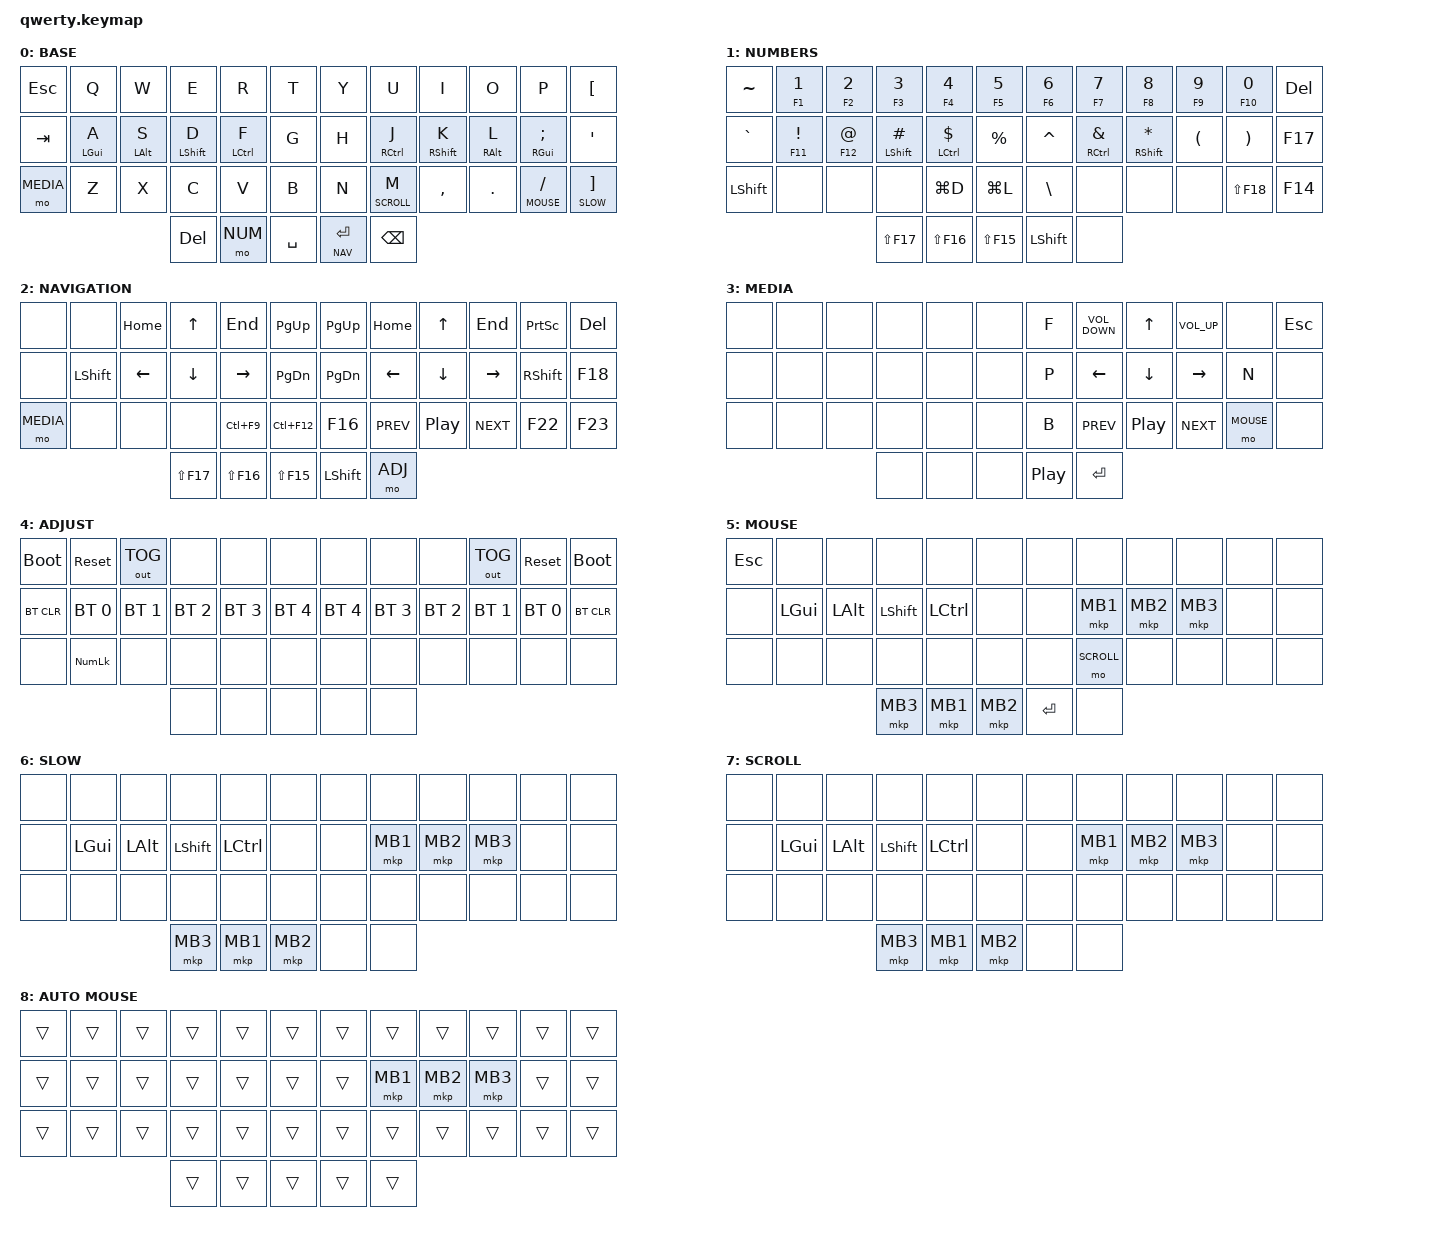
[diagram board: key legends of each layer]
/* upstream bindings and behaviors */
#include <behaviors.dtsi>
#include <dt-bindings/zmk/bt.h>
#include <dt-bindings/zmk/keys.h>
#include <dt-bindings/zmk/mouse.h>
#include <dt-bindings/zmk/outputs.h>
#include <behaviors/mouse_keys.dtsi>
#include <dt-bindings/zmk/ext_power.h>


/* local overlays */
// #include "macros.dtsi"
// #include "behaviors.dtsi"
// #include "combos.dtsi"

#define U_TAPPING_TERM 200

#define BASE   0
#define NUM    1
#define NAV    2
#define MEDIA  3
#define ADJ    4
#define MOUSE  5
#define SLOW   6
#define SCROLL 7
#define AUTO_MOUSE 8

#define KEYS_L 0 1 2 3 4 5 12 13 14 15 16 17 24 25 26 27 28 29 36 37 38 19 20 21 22  // Left-hand keys.
#define KEYS_R 6 7 8 9 10 11 18 19 20 21 22 23 30 31 32 33 34 35 39 40 16 15 14 13  // Right-hand keys.
#define THUMBS 36 37 38 39 40  // Thumb keys.

/ {
    combos {
        compatible = "zmk,combos";

        ParaLeft {
            bindings = <&kp LEFT_PARENTHESIS>;
            key-positions = <4 5>;
            timeout-ms = <30>;
        };

        ParaRight {
            bindings = <&kp RIGHT_PARENTHESIS>;
            key-positions = <6 7>;
            timeout-ms = <30>;
        };

        BrakLeft {
            bindings = <&kp LEFT_BRACKET>;
            key-positions = <16 17>;
            timeout-ms = <30>;
        };

        BrakRight {
            bindings = <&kp RIGHT_BRACKET>;
            key-positions = <18 19>;
            timeout-ms = <30>;
            layers = <BASE NUM NAV MEDIA ADJ MOUSE SLOW SCROLL>;
        };

        BraceLeft {
            bindings = <&kp LEFT_BRACE>;
            key-positions = <28 29>;
            timeout-ms = <30>;
        };

        BraceRight {
            bindings = <&kp RIGHT_BRACE>;
            key-positions = <30 31>;
            timeout-ms = <30>;
        };
		
		LangRu {
            bindings = <&kp LS(F13)>;
            key-positions = <15 16>;
            timeout-ms = <30>;
        };

        LangUs {
            bindings = <&kp LS(F14)>;
            key-positions = <19 20>;
            timeout-ms = <30>;
            layers = <BASE NUM NAV MEDIA ADJ MOUSE SLOW SCROLL>;
        };

        //DoubleQuote {
        //    bindings = <&kp DOUBLE_QUOTES>;
        //    key-positions = <15 16>;
        //    timeout-ms = <30>;
        //};

        //SingleQuote {
        //    bindings = <&kp APOSTROPHE>;
        //    key-positions = <19 20>;
        //    timeout-ms = <30>;
        //};

        TildaSign {
            bindings = <&kp TILDE>;
            key-positions = <0 12>;
            timeout-ms = <30>;
        };

        GraveSign {
            bindings = <&kp GRAVE>;
            key-positions = <12 24>;
            timeout-ms = <30>;
        };

        MinusSign {
            bindings = <&kp MINUS>;
            key-positions = <3 4>;
            timeout-ms = <30>;
        };

        PlusSign {
            bindings = <&kp PLUS>;
            key-positions = <2 3>;
            timeout-ms = <30>;
        };

        UnderscoreSign {
            bindings = <&kp UNDERSCORE>;
            key-positions = <7 8>;
            timeout-ms = <30>;
        };

        PipeSign {
            bindings = <&kp EQUAL>;
            key-positions = <8 9>;
            timeout-ms = <30>;
        };
		
		MediaLayerON {
            bindings = <&tog MEDIA>;
            key-positions = <11 35>;
            timeout-ms = <50>;
			layers = <BASE>;
        };
		
		MediaLayerOFF {
            bindings = <&to BASE>;
            key-positions = <11 35>;
            timeout-ms = <50>;
			layers = <MEDIA>;
        };
		
		PercentPrint {
            bindings = <&battery_text>;
            pass-source;
            key-positions = <0>;
            timeout-ms = <50>;
			layers = <NAV>;
        };

		CapsWord {
            bindings = <&caps_word>;
            key-positions = <17 18>;
            layers = <BASE>;
        };
    };

    behaviors {
        battery_text: battery_text {
            compatible = "zmk,behavior-battery-text";
            #binding-cells = <0>;
        };

        hm: homerow_mod {
            compatible = "zmk,behavior-hold-tap";
            #binding-cells = <2>;
            flavor = "tap-preferred";
            tapping-term-ms = <280>; // triggers the hold behavior when the tapping-term-ms has expired
            quick-tap-ms = <175>; // If you press a tapped hold-tap again within quick-tap-ms milliseconds of the first press, it will always trigger the tap behavior.
            require-prior-idle-ms = <185>; // like quick-tap-ms however it will apply for any non-modifier key pressed before it
            bindings = <&kp>, <&kp>;  // hold, tap
        };

        // Left-hand HRM
        hml: left_side_homerow_mod {
            compatible = "zmk,behavior-hold-tap";
            #binding-cells = <2>;
            flavor = "balanced";
            tapping-term-ms = <280>;
            quick-tap-ms = <175>;
            require-prior-idle-ms = <150>;
            bindings = <&kp>, <&kp>;
            hold-trigger-key-positions = <KEYS_R THUMBS>;
            hold-trigger-on-release;
        };

        // Right-hand HRM
        hmr: right_side_homerow_mod {
            compatible = "zmk,behavior-hold-tap";
            #binding-cells = <2>;
            flavor = "balanced";
            tapping-term-ms = <280>;
            quick-tap-ms = <175>;
            require-prior-idle-ms = <125>;
            bindings = <&kp>, <&kp>;
            hold-trigger-key-positions = <KEYS_L THUMBS>;
            hold-trigger-on-release;
        };

        td_esc_scrl_slow: td_esc_scrl_slow {
            compatible = "zmk,behavior-tap-dance";
            #binding-cells = <0>;
            tapping-term-ms = <125>;
            bindings = <&lt 8 ESC>, <&mo 7>; // hold, tap, double_tap
        };

        td_space_nav: td_space {
            compatible = "zmk,behavior-tap-dance";
            #binding-cells = <0>;
            tapping-term-ms = <120>;
            bindings = <&lt 2 SPACE>, <&kp SPACE>; // hold, tap, double_tap
        };

        td_bs: td_bs {
            compatible = "zmk,behavior-tap-dance";
            #binding-cells = <0>;
            tapping-term-ms = <115>;
            bindings = <&lt 1 BACKSPACE>, <&kp BACKSPACE>; // hold, tap, double_tap
        };

        httl: ht_two_layers {
            compatible = "zmk,behavior-hold-tap";
            bindings = <&mo>, <&to>;
            #binding-cells = <2>;
            flavor = "balanced";
            tapping-term-ms = <125>;
        };

        td_layers: td_layer_swap {
            compatible = "zmk,behavior-tap-dance";
            #binding-cells = <0>;
            bindings = <&to 0>, <&to 4>; // tap, double_tap
        };

        td_clk_scrl: td_click_or_scroll {
            compatible = "zmk,behavior-tap-dance";
            #binding-cells = <0>;
            tapping-term-ms = <250>;
            bindings = <&mkp RCLK>, <&mo 8>;  // tap/hold, double_tap
        };

        td_bore: BASE_or_EXTRA {
            compatible = "zmk,behavior-tap-dance";
            #binding-cells = <0>;
            bindings = <&mo 5>, <&to 0>;
        };

        mm_qm_ex: question_exclamation {
            compatible    = "zmk,behavior-mod-morph";
            #binding-cells = <0>;
            bindings      = <&kp QUESTION>, <&kp EXCLAMATION>;
            mods          = <(MOD_LSFT | MOD_RSFT)>;
        };

        mm_pr_col: period_colon {
            compatible    = "zmk,behavior-mod-morph";
            #binding-cells = <0>;
            bindings      = <&kp PERIOD>, <&kp COLON>;
            mods          = <(MOD_LSFT | MOD_RSFT)>;
        };

        mm_cm_sc: comma_semi_colon {
            compatible    = "zmk,behavior-mod-morph";
            #binding-cells = <0>;
            bindings      = <&kp COMMA>, <&kp SEMICOLON>;
            mods          = <(MOD_LSFT | MOD_RSFT)>;
        };
    };

    /* --- KEYMAP CONFIG --- */
// ╭──────┬──────┬──────┬──────┬──────┬──────╮  ╭──────┬──────┬──────┬──────┬──────┬──────╮
//    00     01     02     03    04      05        06     07     08     09     10     11
// ├──────┼──────┼──────┼──────┼──────┼──────┤  ├──────┼──────┼──────┼──────┼──────┼──────┤
//    12     13     14     15    16      17        18     19     20     21     22     23
// ├──────┼──────┼──────┼──────┼──────┼──────┤  ├──────┼──────┼──────┼──────┼──────┼──────┤
//    24     25     26     27    28      29        30     31     32     33     34     35
// ╰──────┴──────┴──────┼──────┼──────┼──────┤  ├──────┼──────┼──────┴──────┴──────┴──────╯
//                         36     37     38        39     40
//                      ╰──────┴──────┴──────╯  ╰──────┴──────╯

    keymap {
        compatible = "zmk,keymap";
        BASE {
			display-name = "BASE";
            bindings = <
// ╭─────────────┬───────────────┬───────────────┬────────────────┬────────────────┬──────────────╮   ╭───────────────┬────────────────┬────────────────┬───────────────┬──────────────────┬──────────────────────────╮
      &kp ESC       &kp Q           &kp W           &kp E            &kp R            &kp T              &kp Y           &kp U            &kp I            &kp O           &kp P              &kp LEFT_BRACKET
// ├─────────────┼───────────────┼───────────────┼────────────────┼────────────────┼──────────────┤   ├───────────────┼────────────────┼────────────────┼───────────────┼──────────────────┼──────────────────────────┤
	  &kp TAB       &hml LGUI A     &hml LALT S     &hml LSHFT D     &hml LCTRL F     &kp G              &kp H           &hmr RCTRL J     &hmr RSHFT K     &hmr RALT L     &hmr RGUI SEMI     &kp SQT
// ├─────────────┼───────────────┼───────────────┼────────────────┼────────────────┼──────────────┤   ├───────────────┼────────────────┼────────────────┼───────────────┼──────────────────┼──────────────────────────┤
      &mo MEDIA     &kp Z           &kp X           &kp C            &kp V            &kp B              &kp N           &lt SCROLL M         &kp COMMA        &kp DOT        &lt MOUSE FSLH           &lt SLOW RIGHT_BRACKET
// ╰─────────────┴───────────────┼───────────────┼────────────────┼────────────────┼──────────────┤   ├───────────────┼────────────────┼────────────────┼───────────────┼──────────────────┴──────────────────────────╯
                                                    &kp DEL          &mo NUM          &kp  SPACE         &lt NAV RET     &kp BSPC
//                                               ╰────────────────┴────────────────┴──────────────╯   ╰───────────────┴────────────────╯
            >;
        };

        NUM {
			display-name = "NUMBERS";
			bindings = <
// ╭─────────────┬────────────────┬──────────────┬───────────────┬───────────────┬───────────────╮   ╭─────────────┬─────────────┬─────────────┬─────────────┬───────────────┬───────────╮
	  &kp TILDE     &hm F1 N1        &hm F2 N2      &hm F3 N3       &hm F4 N4       &hm F5 N5           &hm F6 N6     &hm F7 N7     &hm F8 N8     &hm F9 N9     &hm F10 N0      &kp DEL
// ├─────────────┼────────────────┼──────────────┼───────────────┼───────────────┼───────────────┤   ├─────────────┼─────────────┼─────────────┼─────────────┼───────────────┼───────────┤
	  &kp GRAVE     &hm F11 EXCL     &hm F12 AT   &hml LSHFT HASH &hml LCTRL DLLR   &kp PRCNT           &kp CARET  &hmr RCTRL AMPS &hmr RSHFT ASTRK &kp LPAR      &kp RPAR        &kp F17
// ├─────────────┼────────────────┼──────────────┼───────────────┼───────────────┼───────────────┤   ├─────────────┼─────────────┼─────────────┼─────────────┼───────────────┼───────────┤
	  &kp LSHFT     &none            &none          &none           &kp LG(D)       &kp LG(L)           &kp BSLH      &none         &none         &none         &kp LS(F18)     &kp F14
// ╰─────────────┴────────────────┼──────────────┼───────────────┼───────────────┼───────────────┤   ├─────────────┼─────────────┼─────────────┼─────────────┼───────────────┴───────────╯
												    &kp LS(F17)     &kp LS(F16)     &kp LS(F15)         &kp LSHFT     &none
//                                               ╰───────────────┴───────────────┴───────────────╯   ╰─────────────┴─────────────╯
            >;
        };

        NAV {
			display-name = "NAVIGATION";
			bindings = <
// ╭─────────────┬─────────────┬────────────┬───────────────┬───────────────┬───────────────╮   ╭─────────────┬──────────────┬────────────┬──────────────┬─────────────┬───────────╮
	  &none         &none         &kp HOME     &kp UP          &kp END         &kp PG_UP           &kp PG_UP     &kp HOME       &kp UP       &kp END        &kp PSCRN     &kp DEL
// ├─────────────┼─────────────┼────────────┼───────────────┼───────────────┼───────────────┤   ├─────────────┼──────────────┼────────────┼──────────────┼─────────────┼───────────┤
	  &none         &kp LSHFT     &kp LEFT     &kp DOWN        &kp RIGHT       &kp PG_DN           &kp PG_DN     &kp LEFT       &kp DOWN     &kp RIGHT      &kp RSHFT     &kp F18
// ├─────────────┼─────────────┼────────────┼───────────────┼───────────────┼───────────────┤   ├─────────────┼──────────────┼────────────┼──────────────┼─────────────┼───────────┤
	  &mo MEDIA     &none         &none        &none           &kp LC(F9)      &kp LC(F12)         &kp F16       &kp C_PREV     &kp C_PP     &kp C_NEXT     &kp F22       &kp F23
// ╰─────────────┴─────────────┼────────────┼───────────────┼───────────────┼───────────────┤   ├─────────────┼──────────────┼────────────┼──────────────┼─────────────┴───────────╯
											   &kp LS(F17)     &kp LS(F16)     &kp LS(F15)         &kp LSHFT     &mo ADJ
//                                          ╰───────────────┴───────────────┴───────────────╯   ╰─────────────┴──────────────╯
            >;
        };

		MEDIA {
			display-name = "MEDIA";
			bindings = <
// ╭─────────┬─────────┬─────────┬─────────┬─────────┬─────────╮   ╭────────────────────┬─────────────────────┬────────────┬───────────────────┬─────────┬─────────╮
      &none     &none     &none     &none     &none     &none         &kp F                &kp C_VOLUME_DOWN     &kp UP       &kp C_VOLUME_UP     &none     &kp ESC
// ├─────────┼─────────┼─────────┼─────────┼─────────┼─────────┤   ├────────────────────┼─────────────────────┼────────────┼───────────────────┼─────────┼─────────┤
	  &none     &none     &none     &none     &none     &none         &kp P                &kp LEFT              &kp DOWN     &kp RIGHT           &kp N     &none
// ├─────────┼─────────┼─────────┼─────────┼─────────┼─────────┤   ├────────────────────┼─────────────────────┼────────────┼───────────────────┼─────────┼─────────┤
	  &none     &none     &none     &none     &none     &none         &kp B                &kp C_PREV            &kp C_PP     &kp C_NEXT         &mo MOUSE     &none
// ╰─────────┴─────────┼─────────┼─────────┼─────────┼─────────┤   ├────────────────────┼─────────────────────┼────────────┼───────────────────┼─────────┴─────────╯
									&none     &none    &none          &kp C_PLAY_PAUSE     &kp RET
//                               ╰─────────┴─────────┴─────────╯   ╰────────────────────┴─────────────────────╯
            >;
        };
		
		ADJUST {
			display-name = "ADJUST";
			bindings = <
// ╭───────────────┬──────────────────┬────────────────┬────────────────┬────────────────┬────────────────╮   ╭────────────────┬────────────────┬────────────────┬────────────────┬────────────────┬───────────────╮
	  &bootloader     &sys_reset         &out OUT_TOG     &none            &none            &none                &none            &none            &none            &out OUT_TOG     &sys_reset       &bootloader
// ├───────────────┼──────────────────┼────────────────┼────────────────┼────────────────┼────────────────┤   ├────────────────┼────────────────┼────────────────┼────────────────┼────────────────┼───────────────┤
	  &bt BT_CLR      &bt BT_SEL 0       &bt BT_SEL 1     &bt BT_SEL 2     &bt BT_SEL 3     &bt BT_SEL 4         &bt BT_SEL 4     &bt BT_SEL 3     &bt BT_SEL 2     &bt BT_SEL 1     &bt BT_SEL 0     &bt BT_CLR
// ├───────────────┼──────────────────┼────────────────┼────────────────┼────────────────┼────────────────┤   ├────────────────┼────────────────┼────────────────┼────────────────┼────────────────┼───────────────┤
	  &none           &kp KP_NUMLOCK     &none            &none            &none            &none                &none            &none            &none            &none            &none            &none
// ╰───────────────┴──────────────────┼────────────────┼────────────────┼────────────────┼────────────────┤   ├────────────────┼────────────────┼────────────────┼────────────────┼────────────────┴───────────────╯
												          &none            &none            &none                &none            &none
//                                                     ╰────────────────┴────────────────┴────────────────╯   ╰────────────────┴────────────────╯
			>;
		};
		
		MOUSE {
			display-name = "MOUSE";
			bindings = <
// ╭─────────┬────────────┬────────────┬─────────────┬─────────────┬────────────╮   ╭─────────┬────────────┬────────────┬────────────┬─────────┬─────────╮
      &kp ESC     &none        &none        &none         &none         &none            &none     &none        &none        &none        &none     &none
// ├─────────┼────────────┼────────────┼─────────────┼─────────────┼────────────┤   ├─────────┼────────────┼────────────┼────────────┼─────────┼─────────┤
	  &none     &kp LGUI     &kp LALT     &kp LSHFT     &kp LCTRL     &none            &none     &mkp MB1     &mkp MB2     &mkp MB3     &none     &none
// ├─────────┼────────────┼────────────┼─────────────┼─────────────┼────────────┤   ├─────────┼────────────┼────────────┼────────────┼─────────┼─────────┤
      &none     &none        &none        &none         &none         &none            &none     &mo SCROLL      &none       &none        &none     &none
// ╰─────────┴────────────┼────────────┼─────────────┼─────────────┼────────────┤   ├─────────┼────────────┼────────────┼────────────┼─────────┴─────────╯
                                          &mkp MB3      &mkp MB1      &mkp MB2         &kp RET     &none
//                                     ╰─────────────┴─────────────┴────────────╯   ╰─────────┴────────────╯
			>;
		};

        SLOW {
			display-name = "SLOW";
            bindings = <
// ╭─────────┬────────────┬────────────┬─────────────┬─────────────┬────────────╮   ╭─────────┬────────────┬────────────┬────────────┬─────────┬─────────╮
      &none     &none        &none        &none         &none         &none            &none     &none        &none        &none        &none     &none
// ├─────────┼────────────┼────────────┼─────────────┼─────────────┼────────────┤   ├─────────┼────────────┼────────────┼────────────┼─────────┼─────────┤
	  &none     &kp LGUI     &kp LALT     &kp LSHFT     &kp LCTRL     &none            &none     &mkp MB1     &mkp MB2     &mkp MB3     &none     &none
// ├─────────┼────────────┼────────────┼─────────────┼─────────────┼────────────┤   ├─────────┼────────────┼────────────┼────────────┼─────────┼─────────┤
      &none     &none        &none        &none         &none         &none            &none     &none        &none        &none        &none     &none
// ╰─────────┴────────────┼────────────┼─────────────┼─────────────┼────────────┤   ├─────────┼────────────┼────────────┼────────────┼─────────┴─────────╯
                                          &mkp MB3      &mkp MB1      &mkp MB2         &none     &none
//                                     ╰─────────────┴─────────────┴────────────╯   ╰─────────┴────────────╯
            >;
        };

        SCROLL {
			display-name = "SCROLL";
            bindings = <
// ╭─────────┬────────────┬────────────┬─────────────┬─────────────┬────────────╮   ╭─────────┬────────────┬────────────┬────────────┬─────────┬─────────╮
      &none     &none        &none        &none         &none         &none            &none     &none        &none        &none        &none     &none
// ├─────────┼────────────┼────────────┼─────────────┼─────────────┼────────────┤   ├─────────┼────────────┼────────────┼────────────┼─────────┼─────────┤
	  &none     &kp LGUI     &kp LALT     &kp LSHFT     &kp LCTRL     &none            &none     &mkp MB1     &mkp MB2     &mkp MB3     &none     &none
// ├─────────┼────────────┼────────────┼─────────────┼─────────────┼────────────┤   ├─────────┼────────────┼────────────┼────────────┼─────────┼─────────┤
      &none     &none        &none        &none         &none         &none            &none     &none        &none        &none        &none     &none
// ╰─────────┴────────────┼────────────┼─────────────┼─────────────┼────────────┤   ├─────────┼────────────┼────────────┼────────────┼─────────┴─────────╯
                                          &mkp MB3      &mkp MB1      &mkp MB2         &none     &none
//                                     ╰─────────────┴─────────────┴────────────╯   ╰─────────┴────────────╯
            >;
        };

        /* Automatic layer: only J/K/L become buttons. Other keys cancel the
           layer BEFORE lookup and retain their normal base-layer bindings. */
        AUTO_MOUSE {
            display-name = "AUTO MOUSE";
            bindings = <
                &trans &trans &trans &trans &trans &trans   &trans &trans   &trans   &trans   &trans &trans
                &trans &trans &trans &trans &trans &trans   &trans &mkp MB1 &mkp MB2 &mkp MB3 &trans &trans
                &trans &trans &trans &trans &trans &trans   &trans &trans   &trans   &trans   &trans &trans
                                            &trans &trans &trans   &trans &trans
            >;
        };
    };
};

#include "../charybdis_auto_mouse.dtsi"
